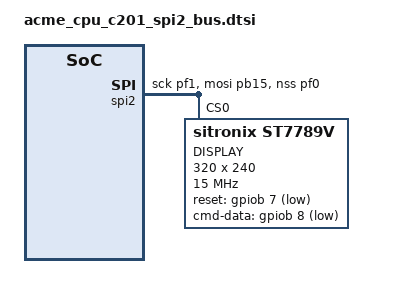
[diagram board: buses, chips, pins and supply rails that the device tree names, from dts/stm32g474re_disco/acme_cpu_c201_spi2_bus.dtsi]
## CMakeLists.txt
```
# SPDX-License-Identifier: Apache-2.0

cmake_minimum_required(VERSION 3.13.1)

set(PROJ_ROOT ${CMAKE_CURRENT_SOURCE_DIR}/)
set(DTS_ROOT ${CMAKE_CURRENT_SOURCE_DIR}/dts)
#set(DTC_OVERLAY_FILE "boards/stm32g474re_disco.overlay")

set(BOARD_ROOT ${CMAKE_CURRENT_LIST_DIR})
set(BOARD stm32g474re_disco)

find_package(Zephyr REQUIRED HINTS $ENV{ZEPHYR_BASE})
project(c201_tft)

target_sources(app PRIVATE src/main.c)
```

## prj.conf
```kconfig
# General configs
CONFIG_LOG=y
CONFIG_STDOUT_CONSOLE=y
CONFIG_PRINTK=y
CONFIG_LOG_PRINTK=y
CONFIG_HEAP_MEM_POOL_SIZE=8192
CONFIG_MAIN_STACK_SIZE=4096
CONFIG_MINIMAL_LIBC_MALLOC_ARENA_SIZE=1024

# PWM configs
CONFIG_PWM=y
#CONFIG_LOG_IMMEDIATE=y
#CONFIG_PWM_LOG_LEVEL_DBG=y


# Display and LVGL configs
CONFIG_DISPLAY=y
CONFIG_DISPLAY_LOG_LEVEL_ERR=y
CONFIG_LVGL=y
CONFIG_LVGL_HOR_RES_MAX=320
CONFIG_LVGL_VER_RES_MAX=320
CONFIG_LVGL_USE_LABEL=y
CONFIG_LVGL_USE_CONT=y
CONFIG_LVGL_USE_BTN=n
CONFIG_LVGL_USE_THEME_MATERIAL=n
CONFIG_LVGL_COLOR_DEPTH_16=y
CONFIG_LVGL_COLOR_16_SWAP=y
CONFIG_LVGL_BITS_PER_PIXEL=16
CONFIG_LVGL_FONT_MONTSERRAT_36=y
#CONFIG_LVGL_FONT_MONTSERRAT_24=y
#CONFIG_LVGL_FONT_MONTSERRAT_12=y
CONFIG_LVGL_FONT_UNSCII_8=n
CONFIG_LVGL_TXT_ENC_UTF8=y
CONFIG_LVGL_MEM_POOL_KERNEL=y
CONFIG_LVGL_VDB_SIZE=5
CONFIG_LVGL_MEM_POOL_NUMBER_BLOCKS=2
```

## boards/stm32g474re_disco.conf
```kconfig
CONFIG_SPI=y
CONFIG_SPI_2=y
CONFIG_ST7789V=y
#CONFIG_ST7789V_RGB888=y

CONFIG_LVGL=y
```

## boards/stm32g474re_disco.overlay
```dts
/*
 * Copyright (c) 2020 Rohan Dey
 *
 * SPDX-License-Identifier: Apache-2.0
 */

&spi2 {
        status = "okay";
        /*cs-gpios = <&gpio0 17 GPIO_ACTIVE_HIGH>;*/
        clock-frequency = <400000>;
};
```

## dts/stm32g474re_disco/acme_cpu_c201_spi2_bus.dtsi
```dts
/*
 * Copyright (c) 2020 Volodymyr Sirous
 *
 * SPDX-License-Identifier: Apache-2.0
 */


&spi2 {
	    status = "okay";
	    pinctrl-0 = <&spi2_sck_pf1 &spi2_mosi_pb15 &spi2_nss_pf0>;
	
	    tft_display: st7789v2@0 {
		compatible = "sitronix,st7789v";
		reg = <0>;
		spi-max-frequency = <15000000>;
		label = "DISPLAY";
		
		reset-gpios = <&gpiob 7 GPIO_ACTIVE_LOW>;
		cmd-data-gpios = <&gpiob 8 GPIO_ACTIVE_LOW>;
		
		height = <240>;
		width = <320>;
		x-offset = <0>;
		y-offset = <0>;
		
		vcom = <0x1F>;
		
		gctrl = <0x35>;
		vrhs = <0x12>;
		vdvs = <0x20>;
			
		/*mdac = <0x60>;	/*Landscape orientation 1*/
		mdac = <0xA0>;	/*Landscape orientation 2 */
			
		lcm = <0x2c>;
		colmod = <0x05>;
		gamma = <0x01>;
		
		porch-param = [0c 0c 00 33 33];
		cmd2en-param = [5a 69 02 01];
		pwctrl1-param = [a4 a1];
	
		pvgam-param = [D0 08 11 08 0C 15 39 33 50 36 13 14 29 2D];
		nvgam-param = [D0 08 10 08 06 06 39 44 51 0B 16 14 2F 31];
	
		ram-param = [00 F0];
		rgb-param = [CD 08 14];
    };
};
```

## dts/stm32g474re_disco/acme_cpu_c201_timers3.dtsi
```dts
/*
 * Copyright (c) 2020 Volodymyr Sirous
 *
 * SPDX-License-Identifier: Apache-2.0
 */


&timers3 {
  status = "okay";
  pwm3: pwm {
    status = "okay";
    pinctrl-0 = <&tim3_ch1_pc6 &tim3_ch2_pc7>;
    st,prescaler = <0>;
    #pwm-cells = <3>;
  };
};
```

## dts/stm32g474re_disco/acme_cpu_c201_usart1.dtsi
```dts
/*
 * Copyright (c) 2020 Volodymyr Sirous
 *
 * SPDX-License-Identifier: Apache-2.0
 */

&pinctrl {
  usart1_rx: gpioc_5 {
    pinmux = <STM32_PINMUX('C', 5, AF7)>;
  };
  usart1_tx: gpioc_4 {
    pinmux = <STM32_PINMUX('C', 4, AF7)>;
  };
};

&usart1 {
    status = "okay";
    pinctrl-0 = <&usart1_rx &usart1_tx>;
    current-speed = <115200>;
};
```

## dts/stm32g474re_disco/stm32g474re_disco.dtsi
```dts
/*
 * Copyright (c) 2020 Rohan Dey
 *
 * SPDX-License-Identifier: Apache-2.0
 */

#include "acme_cpu_c201_usart1.dtsi"
/*#include "stm32g474re_disco_usart3.dtsi"*/
/*#include "stm32g474re_disco_timers20.dtsi"*/
#include "acme_cpu_c201_timers3.dtsi"
#include "acme_cpu_c201_spi2_bus.dtsi"
```

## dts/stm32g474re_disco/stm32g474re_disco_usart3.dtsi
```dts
/*
 * Copyright (c) 2020 Rohan Dey
 *
 * SPDX-License-Identifier: Apache-2.0
 */
 
&pinctrl {
	usart3_tx: gpioc_10 {
		pinmux = <STM32_PINMUX('C', 10, AF7)>;
	};
	
	usart3_rx: gpioc_11 {
		pinmux = <STM32_PINMUX('C', 11, AF7)>;
	};
};
 

&usart3 {
    status = "okay";
    current-speed = <115200>;
    pinctrl-0 = <&usart3_tx &usart3_rx>;
};
```

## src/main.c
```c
/**
 * @file Sample app to demonstrate TFT.
 */

#include <zephyr.h>
#include <sys/printk.h>
#include <device.h>
#include <drivers/pwm.h>
#include <drivers/display.h>
#include <lvgl.h>
#include <string.h>

#include "main.h"

#define LOG_LEVEL CONFIG_LOG_DEFAULT_LEVEL
#include <logging/log.h>
LOG_MODULE_REGISTER(app);

/* TFT Backlight PWM device tree configurations */
#define PWM_TFT_BL	DT_ALIAS(pwm0)
#define LABEL_PWM_TFT_BL	DT_PWMS_LABEL(PWM_TFT_BL)
#define CHANNEL_PWM_TFT_BL	DT_PWMS_CHANNEL(PWM_TFT_BL)
#define FLAGS_PWM_TFT_BL	DT_PWMS_FLAGS(PWM_TFT_BL)

static void tft_lcd_set_brightness(const struct device *pwm, float bright_percent) {	/* brightness percentage in float, 0.1, 0.25, 0.75 etc.*/

	uint32_t period_5k = (1*1000*1000)/5000;	// 5000 Hz, period in usecs

	printk("Setting pwm period to %d usec\n", period_5k);

	int ret = pwm_pin_set_usec(pwm, CHANNEL_PWM_TFT_BL, period_5k, (period_5k * bright_percent), FLAGS_PWM_TFT_BL);
	if (ret) {
		printk("Error %d: failed to set pulse width\n", ret);
		return;
	}
}
static const struct device * tft_lcd_initialize() {
	const struct device *pwm;
	pwm = device_get_binding(LABEL_PWM_TFT_BL);
	if (!pwm) {
		printk("Error: didn't find %s device\n", LABEL_PWM_TFT_BL);
		return NULL;
	}

	tft_lcd_set_brightness(pwm, 1);

	return pwm;
}

void main(void) {
	printk("C201 TFT test project ...\n");

	/**/
	const struct device *dev_tft_pwm = tft_lcd_initialize();
	if (dev_tft_pwm == NULL) {
		printk("Could not initialize pwm!\n");
		return;
	}

	const struct device *display_dev;
	display_dev = device_get_binding(CONFIG_LVGL_DISPLAY_DEV_NAME);
	if (display_dev == NULL) {
		LOG_ERR("device not found.  Aborting test.");
		return;
	}

	disp_obj_info pres_name, pres_val, speed_name, speed_val;
	uint32_t pval = 0U, sval = 0U;

	/* Set 'Pressure' label on screen */
	pres_name.lvgl_prop_hdl = lv_label_create(lv_scr_act(), NULL);
	lv_label_set_recolor(pres_name.lvgl_prop_hdl, true);
	lv_label_set_align(pres_name.lvgl_prop_hdl, LV_LABEL_ALIGN_LEFT);
	lv_label_set_text(pres_name.lvgl_prop_hdl, "#0000ff Pressure: #");
	lv_obj_set_width(pres_name.lvgl_prop_hdl, 220);
	lv_obj_align(pres_name.lvgl_prop_hdl, NULL, LV_ALIGN_IN_TOP_LEFT, 0, 0);

	/* Set 'Pressure' value on screen */
	pres_val.lvgl_prop_hdl = lv_label_create(lv_scr_act(), NULL);
	lv_label_set_recolor(pres_val.lvgl_prop_hdl, true);
	lv_label_set_align(pres_val.lvgl_prop_hdl, LV_LABEL_ALIGN_LEFT);
	lv_label_set_text(pres_val.lvgl_prop_hdl, "10.25");
	lv_obj_set_width(pres_val.lvgl_prop_hdl, 100);
	lv_obj_align(pres_val.lvgl_prop_hdl, pres_name.lvgl_prop_hdl, LV_ALIGN_OUT_RIGHT_TOP, 0, 0);

	/* Set 'Speed' name on screen */
	speed_name.lvgl_prop_hdl = lv_label_create(lv_scr_act(), NULL);
	lv_label_set_recolor(speed_name.lvgl_prop_hdl, true);
	lv_label_set_align(speed_name.lvgl_prop_hdl, LV_LABEL_ALIGN_LEFT);
	lv_label_set_text(speed_name.lvgl_prop_hdl, "#ff0000 Speed: #");
	lv_obj_set_width(speed_name.lvgl_prop_hdl, 220);
	lv_obj_align(speed_name.lvgl_prop_hdl, pres_name.lvgl_prop_hdl, LV_ALIGN_OUT_BOTTOM_LEFT, 0, 0);

	/* Set 'Speed' value on screen */
	speed_val.lvgl_prop_hdl = lv_label_create(lv_scr_act(), NULL);
	lv_label_set_recolor(speed_val.lvgl_prop_hdl, true);
	lv_label_set_align(speed_val.lvgl_prop_hdl, LV_LABEL_ALIGN_LEFT);
	lv_label_set_text(speed_val.lvgl_prop_hdl, "5");
	lv_obj_set_width(speed_val.lvgl_prop_hdl, 100);
	lv_obj_align(speed_val.lvgl_prop_hdl, speed_name.lvgl_prop_hdl, LV_ALIGN_OUT_RIGHT_TOP, 0, 0);

	lv_task_handler();
	display_blanking_off(display_dev);

	float brightness_level = 0.1;

	while (1) {
		if ((pval % 50) == 0U) {
			sprintf(pres_val.lvgl_prop_value, "%d", pval/50U);
			lv_label_set_text(pres_val.lvgl_prop_hdl, pres_val.lvgl_prop_value);
		}
		if ((sval % 10) == 0U) {
			sprintf(speed_val.lvgl_prop_value, "%d", sval/10U);
			lv_label_set_text(speed_val.lvgl_prop_hdl, speed_val.lvgl_prop_value);
		}
		if ((pval % 100) == 0U) {
			if (brightness_level > 1.0) brightness_level = 0.1;
			brightness_level = brightness_level + 0.1;

//			tft_lcd_set_brightness(dev_tft_pwm, brightness_level);
		}

		lv_task_handler();
		k_sleep(K_MSEC(25));

		++pval;
		++sval;
	}
}
```
